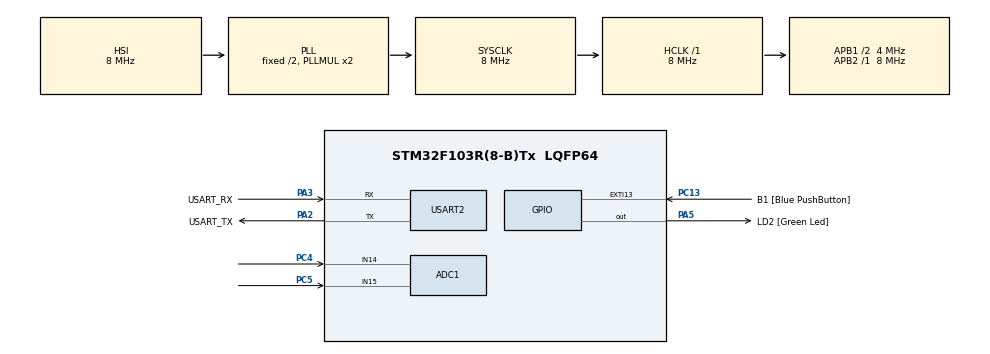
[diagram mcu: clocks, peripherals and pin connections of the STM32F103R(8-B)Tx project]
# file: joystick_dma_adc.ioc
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ADC1.Channel-0\#ChannelRegularConversion=ADC_CHANNEL_14
ADC1.Channel-1\#ChannelRegularConversion=ADC_CHANNEL_14
ADC1.NbrOfConversion=2
ADC1.NbrOfConversionFlag=1
ADC1.Rank-0\#ChannelRegularConversion=1
ADC1.Rank-1\#ChannelRegularConversion=2
ADC1.SamplingTime-0\#ChannelRegularConversion=ADC_SAMPLETIME_1CYCLE_5
ADC1.SamplingTime-1\#ChannelRegularConversion=ADC_SAMPLETIME_1CYCLE_5
ADC1.master=1
Dma.ADC1.0.Direction=DMA_PERIPH_TO_MEMORY
Dma.ADC1.0.Instance=DMA1_Channel1
Dma.ADC1.0.MemDataAlignment=DMA_MDATAALIGN_HALFWORD
Dma.ADC1.0.MemInc=DMA_MINC_ENABLE
Dma.ADC1.0.Mode=DMA_NORMAL
Dma.ADC1.0.PeriphDataAlignment=DMA_PDATAALIGN_HALFWORD
Dma.ADC1.0.PeriphInc=DMA_PINC_DISABLE
Dma.ADC1.0.Priority=DMA_PRIORITY_HIGH
Dma.Request0=ADC1
Mcu.Family=STM32F1
Mcu.Name=STM32F103R(8-B)Tx
Mcu.Package=LQFP64
NVIC.DMA1_Channel1_IRQn=true\:0\:0\:false\:false\:true\:false\:true\:true
NVIC.EXTI15_10_IRQn=true\:0\:0\:false\:false\:true\:true\:true\:true
NVIC.PriorityGroup=NVIC_PRIORITYGROUP_4
PA13.GPIO_Label=TMS
PA13.Mode=Serial_Wire
PA13.Signal=SYS_JTMS-SWDIO
PA14.GPIO_Label=TCK
PA14.Mode=Serial_Wire
PA14.Signal=SYS_JTCK-SWCLK
PA2.GPIO_Label=USART_TX
PA2.GPIO_Mode=GPIO_MODE_AF_PP
PA2.GPIO_PuPd=GPIO_NOPULL
PA2.GPIO_Speed=GPIO_SPEED_FREQ_LOW
PA2.Mode=Asynchronous
PA2.Signal=USART2_TX
PA3.GPIO_Label=USART_RX
PA3.GPIO_Mode=GPIO_MODE_AF_PP
PA3.GPIO_PuPd=GPIO_NOPULL
PA3.GPIO_Speed=GPIO_SPEED_FREQ_LOW
PA3.Mode=Asynchronous
PA3.Signal=USART2_RX
PA5.GPIO_Label=LD2 [Green Led]
PA5.GPIO_ModeDefaultOutputPP=GPIO_MODE_OUTPUT_PP
PA5.GPIO_PuPd=GPIO_NOPULL
PA5.GPIO_Speed=GPIO_SPEED_FREQ_LOW
PA5.Signal=GPIO_Output
PB3.GPIO_Label=SWO
PB3.Signal=SYS_JTDO-TRACESWO
PC13-TAMPER-RTC.GPIO_Label=B1 [Blue PushButton]
PC13-TAMPER-RTC.GPIO_PuPd=GPIO_NOPULL
PC13-TAMPER-RTC.Signal=GPXTI13
PC14-OSC32_IN.Mode=LSE-External-Oscillator
PC14-OSC32_IN.Signal=RCC_OSC32_IN
PC15-OSC32_OUT.Mode=LSE-External-Oscillator
PC15-OSC32_OUT.Signal=RCC_OSC32_OUT
PC4.Signal=ADCx_IN14
PC5.Signal=ADCx_IN15
PD0-OSC_IN.Mode=HSE-External-Clock-Source
PD0-OSC_IN.Signal=RCC_OSC_IN
PD1-OSC_OUT.Mode=HSE-External-Clock-Source
PD1-OSC_OUT.Signal=RCC_OSC_OUT
ProjectManager.HeapSize=0x200
ProjectManager.StackSize=0x400
ProjectManager.TargetToolchain=STM32CubeIDE
RCC.AHBFreq_Value=8000000
RCC.APB1CLKDivider=RCC_HCLK_DIV2
RCC.APB1Freq_Value=4000000
RCC.APB1TimFreq_Value=8000000
RCC.APB2Freq_Value=8000000
RCC.APB2TimFreq_Value=8000000
RCC.HCLKFreq_Value=8000000
RCC.RTCClockSelection=RCC_RTCCLKSOURCE_LSE
RCC.SYSCLKFreq_VALUE=8000000
RCC.SYSCLKSource=RCC_SYSCLKSOURCE_PLLCLK
RCC.USBFreq_Value=8000000
SH.ADCx_IN14.0=ADC1_IN14,IN14
SH.ADCx_IN15.0=ADC1_IN15,IN15
USART2.VirtualMode=VM_ASYNC
board=NUCLEO-F103RB

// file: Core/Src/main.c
/* USER CODE BEGIN Header */
/**
  ******************************************************************************
  * @file           : main.c
  * @brief          : Main program body
  ******************************************************************************
  * @attention
  *
  * Copyright (c) 2025 STMicroelectronics.
  * All rights reserved.
  *
  * This software is licensed under terms that can be found in the LICENSE file
  * in the root directory of this software component.
  * If no LICENSE file comes with this software, it is provided AS-IS.
  *
  ******************************************************************************
  */
/* USER CODE END Header */
#include "main.h"

/* USER CODE BEGIN Includes */
#include "lcd.h"
#include <stdio.h>

/* USER CODE END Includes */

/* USER CODE BEGIN PD */
#define ANALOG_BUFFER_SIZE 2

#define MAP_VERTICAL 2
#define MAP_HORIZONTAL 16
#define NR_OF_OBSTACLES 6
/* USER CODE END PD */

ADC_HandleTypeDef hadc1;
DMA_HandleTypeDef hdma_adc1;

UART_HandleTypeDef huart2;

/* USER CODE BEGIN PV */

int X_Actual = 0;
int Y_Actual = 0;

uint8_t dot[] = {0x0C, 0x0C, 0x00, 0x0E, 0x1C, 0x0C, 0x1A, 0x13};
uint8_t obstacle[] = {0x0F, 0x0F, 0x0F, 0x0F, 0x0F, 0x0F, 0x0F, 0x0F};
uint8_t smileyFace[8] = {
        0b00000,
        0b01010,
        0b01010,
        0b00000,
        0b10001,
        0b01110,
        0b00000,
        0b00000
    };
volatile uint16_t ADC_Buffer[ANALOG_BUFFER_SIZE];
int MAP[16][2];
int index[16];
int time = 0;
int procent = 900;
int xobs[NR_OF_OBSTACLES], yobs[NR_OF_OBSTACLES];
/* USER CODE END PV */

void SystemClock_Config(void);
static void MX_GPIO_Init(void);
static void MX_DMA_Init(void);
static void MX_USART2_UART_Init(void);
static void MX_ADC1_Init(void);

int main(void)
{

  /* MCU Configuration--------------------------------------------------------*/

  /* Reset of all peripherals, Initializes the Flash interface and the Systick. */
  HAL_Init();

  /* Configure the system clock */
  SystemClock_Config();

  /* Initialize all configured peripherals */
  MX_GPIO_Init();
  MX_DMA_Init();
  MX_USART2_UART_Init();
  MX_ADC1_Init();
  /* USER CODE BEGIN 2 */

  //! display!
  LCD16X2_Init(LCD16X2_DISPLAY_ON_CURSOR_OFF_BLINK_OFF);
  LCD16X2_GotoXY(0, 0);
  LCD16X2_CreateCustomChar(0, dot);
  LCD16X2_CreateCustomChar(1, obstacle);
  LCD16X2_CreateCustomChar(3, smileyFace);
  // initial
  	for(int i = 0; i < NR_OF_OBSTACLES; i++){
  		int rv = rand()%16;
  		int parimpar = rand()%2;
  		//int doitrei = (parimpar==0) ? 2 : 3;
  		xobs[i] = rv;
  		yobs[i] = parimpar;
  		MAP[xobs[i]][yobs[i]]=1;
  		index[i]=xobs[i];
  		//
  		for(int j = 0; j < MAP_HORIZONTAL; j++){
  			if(MAP[j][0] == 1 && MAP[j][1] == 1){
  				MAP[j][1] = 0;
  				for(int k = 0; k < MAP_HORIZONTAL; k++)
  					if(xobs[k] == j)
  						yobs[k] = 1;
  			}
  			if(j > 1 && j < 15)
  				if((MAP[j][0] == 1 && MAP[j+1][1] == 1) || (MAP[j][0] == 1 && MAP[j-1][1] == 1)){
  					MAP[j][0] = 0;
  				for(int k = 0; k < MAP_HORIZONTAL; k++)
  					if(xobs[k] == j)
  						xobs[k]++;
  				}
  		}

  	}
  	// LCD16X2_Puts("HELLO");
  /* USER CODE END 2 */

  /* Infinite loop */
  /* USER CODE BEGIN WHILE */
  while (1)
  {
	  HAL_ADC_Start_DMA(&hadc1, ADC_Buffer, ANALOG_BUFFER_SIZE);

		// moving
		int xvalue = ADC_Buffer[1];
		int yvalue = ADC_Buffer[0];
		if(xvalue < 2000){
			if(X_Actual > 0){
				X_Actual--;
			}
		}
		else if(xvalue > 3700){
			if(X_Actual < MAP_HORIZONTAL)
			{
				X_Actual++;
			}
		}
		if(yvalue < 2000){
			if(Y_Actual == 0){
				Y_Actual++;
			}
		}else if(yvalue > 3700){
			if(Y_Actual == 1)
			{
				Y_Actual--;
			}
		}
		// print caracter la (X_Actual, Y_Actual);
		LCD16X2_ClrScr();
		LCD16X2_PutCustomChar(X_Actual, Y_Actual, 3);
		for(int i = 0; i < NR_OF_OBSTACLES; i++){
			// move obstacles towards start position.
			if(time%procent==0){
				if(xobs[i] > 0)
					xobs[i]--;
				else{
					xobs[i] = 16;
				}
			}
//			LCD16X2_GotoXY(xobs[i], yobs[i]);
//			LCD16X2_PutChar(3);
			LCD16X2_PutCustomChar(xobs[i], yobs[i], 1);
		}
				// check if obstacle was hit
		for(int i = 0; i < NR_OF_OBSTACLES; i++){
			if(X_Actual == xobs[i] && Y_Actual == yobs[i])
			{
				LCD16X2_ClrScr();
				LCD16X2_Puts("You lost!");
				return 0;
			}
		}
		// delay
		time+=300;
		if(time == 6000)
			procent-=300;
		if(time == 18000)
			procent-=300;
		HAL_Delay(300);
    /* USER CODE END WHILE */

  }
}

void SystemClock_Config(void)
{
  RCC_OscInitTypeDef RCC_OscInitStruct = {0};
  RCC_ClkInitTypeDef RCC_ClkInitStruct = {0};
  RCC_PeriphCLKInitTypeDef PeriphClkInit = {0};

  /** Initializes the RCC Oscillators according to the specified parameters
  * in the RCC_OscInitTypeDef structure.
  */
  RCC_OscInitStruct.OscillatorType = RCC_OSCILLATORTYPE_HSI;
  RCC_OscInitStruct.HSIState = RCC_HSI_ON;
  RCC_OscInitStruct.HSICalibrationValue = RCC_HSICALIBRATION_DEFAULT;
  RCC_OscInitStruct.PLL.PLLState = RCC_PLL_ON;
  RCC_OscInitStruct.PLL.PLLSource = RCC_PLLSOURCE_HSI_DIV2;
  RCC_OscInitStruct.PLL.PLLMUL = RCC_PLL_MUL2;
  if (HAL_RCC_OscConfig(&RCC_OscInitStruct) != HAL_OK)
  {
    Error_Handler();
  }

  /** Initializes the CPU, AHB and APB buses clocks
  */
  RCC_ClkInitStruct.ClockType = RCC_CLOCKTYPE_HCLK|RCC_CLOCKTYPE_SYSCLK
                              |RCC_CLOCKTYPE_PCLK1|RCC_CLOCKTYPE_PCLK2;
  RCC_ClkInitStruct.SYSCLKSource = RCC_SYSCLKSOURCE_PLLCLK;
  RCC_ClkInitStruct.AHBCLKDivider = RCC_SYSCLK_DIV1;
  RCC_ClkInitStruct.APB1CLKDivider = RCC_HCLK_DIV2;
  RCC_ClkInitStruct.APB2CLKDivider = RCC_HCLK_DIV1;

  if (HAL_RCC_ClockConfig(&RCC_ClkInitStruct, FLASH_LATENCY_0) != HAL_OK)
  {
    Error_Handler();
  }
  PeriphClkInit.PeriphClockSelection = RCC_PERIPHCLK_ADC;
  PeriphClkInit.AdcClockSelection = RCC_ADCPCLK2_DIV2;
  if (HAL_RCCEx_PeriphCLKConfig(&PeriphClkInit) != HAL_OK)
  {
    Error_Handler();
  }
}

static void MX_ADC1_Init(void)
{

  ADC_ChannelConfTypeDef sConfig = {0};

  /** Common config
  */
  hadc1.Instance = ADC1;
  hadc1.Init.ScanConvMode = ADC_SCAN_ENABLE;
  hadc1.Init.ContinuousConvMode = DISABLE;
  hadc1.Init.DiscontinuousConvMode = DISABLE;
  hadc1.Init.ExternalTrigConv = ADC_SOFTWARE_START;
  hadc1.Init.DataAlign = ADC_DATAALIGN_RIGHT;
  hadc1.Init.NbrOfConversion = 2;
  if (HAL_ADC_Init(&hadc1) != HAL_OK)
  {
    Error_Handler();
  }

  /** Configure Regular Channel
  */
  sConfig.Channel = ADC_CHANNEL_14;	// PC14
  sConfig.Rank = ADC_REGULAR_RANK_1;
  sConfig.SamplingTime = ADC_SAMPLETIME_1CYCLE_5;
  if (HAL_ADC_ConfigChannel(&hadc1, &sConfig) != HAL_OK)
  {
    Error_Handler();
  }

  sConfig.Channel = ADC_CHANNEL_15;  // PC15
  sConfig.Rank = ADC_REGULAR_RANK_2;
  sConfig.SamplingTime = ADC_SAMPLETIME_1CYCLE_5;
  if (HAL_ADC_ConfigChannel(&hadc1, &sConfig) != HAL_OK)
  {
    Error_Handler();
  }
  /** Configure Regular Channel
  */
  sConfig.Rank = ADC_REGULAR_RANK_2;
  if (HAL_ADC_ConfigChannel(&hadc1, &sConfig) != HAL_OK)
  {
    Error_Handler();
  }

}

static void MX_USART2_UART_Init(void)
{

  huart2.Instance = USART2;
  huart2.Init.BaudRate = 115200;
  huart2.Init.WordLength = UART_WORDLENGTH_8B;
  huart2.Init.StopBits = UART_STOPBITS_1;
  huart2.Init.Parity = UART_PARITY_NONE;
  huart2.Init.Mode = UART_MODE_TX_RX;
  huart2.Init.HwFlowCtl = UART_HWCONTROL_NONE;
  huart2.Init.OverSampling = UART_OVERSAMPLING_16;
  if (HAL_UART_Init(&huart2) != HAL_OK)
  {
    Error_Handler();
  }

}

static void MX_DMA_Init(void)
{

  /* DMA controller clock enable */
  __HAL_RCC_DMA1_CLK_ENABLE();

  /* DMA interrupt init */
  /* DMA1_Channel1_IRQn interrupt configuration */
  HAL_NVIC_SetPriority(DMA1_Channel1_IRQn, 0, 0);
  HAL_NVIC_EnableIRQ(DMA1_Channel1_IRQn);

}

static void MX_GPIO_Init(void)
{
  GPIO_InitTypeDef GPIO_InitStruct = {0};

  /* GPIO Ports Clock Enable */
  __HAL_RCC_GPIOC_CLK_ENABLE();
  __HAL_RCC_GPIOD_CLK_ENABLE();
  __HAL_RCC_GPIOA_CLK_ENABLE();
  __HAL_RCC_GPIOB_CLK_ENABLE();

  /*Configure GPIO pin Output Level */
  HAL_GPIO_WritePin(LD2_GPIO_Port, LD2_Pin, GPIO_PIN_RESET);

  /*Configure GPIO pin : B1_Pin */
  GPIO_InitStruct.Pin = B1_Pin;
  GPIO_InitStruct.Mode = GPIO_MODE_IT_RISING;
  GPIO_InitStruct.Pull = GPIO_NOPULL;
  HAL_GPIO_Init(B1_GPIO_Port, &GPIO_InitStruct);

  /*Configure GPIO pin : LD2_Pin */
  GPIO_InitStruct.Pin = LD2_Pin;
  GPIO_InitStruct.Mode = GPIO_MODE_OUTPUT_PP;
  GPIO_InitStruct.Pull = GPIO_NOPULL;
  GPIO_InitStruct.Speed = GPIO_SPEED_FREQ_LOW;
  HAL_GPIO_Init(LD2_GPIO_Port, &GPIO_InitStruct);

  /* EXTI interrupt init*/
  HAL_NVIC_SetPriority(EXTI15_10_IRQn, 0, 0);
  HAL_NVIC_EnableIRQ(EXTI15_10_IRQn);

}

void Error_Handler(void)
{
  __disable_irq();
  while (1)
  {
  }
}
